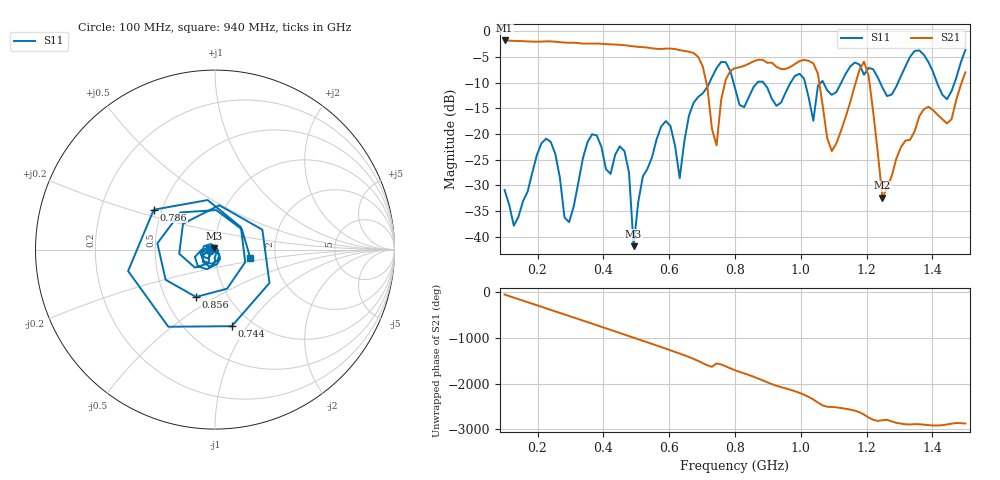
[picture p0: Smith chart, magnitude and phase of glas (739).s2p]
! NanoVNA-App
! Date: 2025-09-25 16:01:14
! Start: 100MHz Stop: 1,5GHz Points: 101
! S-Parameter data: F S11 S21 S12 S22
# Hz S RI R 50
!  Frequency  S11_Real  S11_Imag  S21_Real  S21_Imag  S12_Real  S12_Imag  S22_Real  S22_Imag
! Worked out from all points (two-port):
!   101 points, 100 MHz to 1.5 GHz, reference 50 ohm
!   highest |S21| = -1.80 dB at 100 MHz (marker M1); lowest = -32.4 dB at 1.248 GHz (marker M2)
!   |S21| within 3 dB of the highest: start of sweep to 684.5 MHz
!   lowest |S11| = -41.9 dB at 492 MHz (marker M3), VSWR 1.02, Z = 49.5 + j0.625 ohm
!   |S11| at or under -10 dB: start of sweep to 722.4 MHz; 795.4 MHz to 867.8 MHz (72.48 MHz wide, 8.72 % of centre); 886.2 MHz to 968.9 MHz (82.71 MHz wide, 8.92 % of centre) (the widest 3 of 7)
!   S12 and S22 are empty: the file has one direction only
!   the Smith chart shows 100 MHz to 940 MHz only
!   S11 on the Smith chart (normalised r, x): 100 MHz: 0.94, -0.01; 744 MHz: 0.81, -0.85; 786 MHz: 0.45, +0.24; 856 MHz: 0.71, -0.41; 940 MHz: 1.48, -0.14
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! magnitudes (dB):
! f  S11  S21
! 100 MHz  -30.9  -1.8
! 128 MHz  -37.9  -1.9
! 226 MHz  -20.9  -2.0
! 296 MHz  -37.2  -2.2
! 338 MHz  -24.7  -2.4
! 464 MHz  -23.3  -2.7
! 492 MHz  -41.9  -3.0
! 576 MHz  -18.5  -3.5
! 632 MHz  -28.6  -3.7
! 702 MHz  -12.1  -6.9
! 744 MHz  -7.2  -22.2
! 786 MHz  -7.8  -7.7
! 800 MHz  -11.1  -7.2
! 856 MHz  -10.9  -5.9
! 940 MHz  -13.9  -7.4
! 996 MHz  -8.3  -5.8
! 1.038 GHz  -17.5  -6.3
! 1.094 GHz  -12.4  -23.4
! 1.192 GHz  -8.5  -5.9
! 1.248 GHz  -11.0  -32.4
! 1.276 GHz  -12.3  -28.3
! 1.5 GHz  -3.7  -8.0
